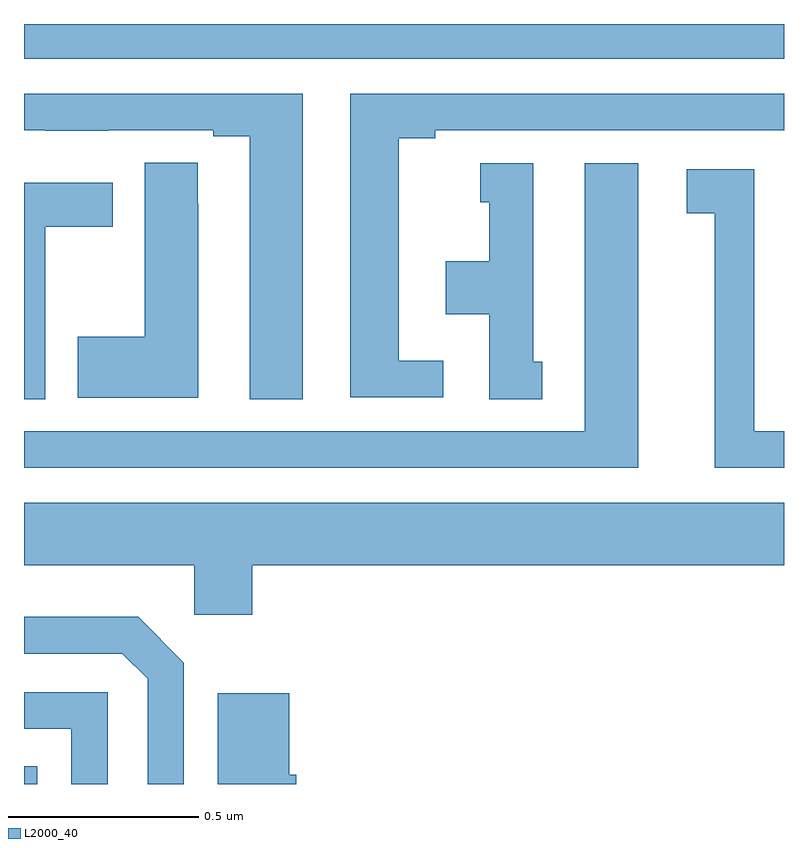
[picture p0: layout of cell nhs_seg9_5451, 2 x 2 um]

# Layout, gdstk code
import gdstk
lib = gdstk.Library(unit=1e-6, precision=1e-09)
def R(c, l, rs):  # rectangles x0, y0, x1, y1
    for r in rs: c.add(gdstk.rectangle(r[:2], r[2:], *l))
def P(c, l, *ps):  # polygons
    for p in ps: c.add(gdstk.Polygon(p, *l))
L2000_40 = (2000, 40)

nhs_seg9_5451 = lib.new_cell('nhs_seg9_5451')
R(nhs_seg9_5451, L2000_40, [(179,1206.5,179.035,1206.547), (179,1208.408,181,1208.5)])
P(nhs_seg9_5451, L2000_40, [(179.734,1208.316),(179,1208.316),(179,1208.22),(179.056,1208.22),(179.056,1208.219),(179.222,1208.219),(179.222,1208.22),(179.498,1208.22),(179.498,1208.205),(179.594,1208.205),(179.594,1207.513),(179.734,1207.513)],
  [(180.103,1207.614),(179.986,1207.614),(179.986,1208.2),(180.082,1208.2),(180.082,1208.22),(181,1208.22),(181,1208.316),(179.858,1208.316),(179.858,1207.518),(180.103,1207.518)],
  [(179.458,1208.027),(179.457,1208.027),(179.457,1208.135),(179.318,1208.135),(179.318,1207.677),(179.141,1207.677),(179.141,1207.517),(179.458,1207.517)],
  [(180.364,1207.611),(180.34,1207.611),(180.34,1208.134),(180.2,1208.134),(180.2,1208.031),(180.224,1208.031),(180.224,1207.876),(180.11,1207.876),(180.11,1207.736),(180.224,1207.736),(180.224,1207.513),(180.364,1207.513)],
  [(180.616,1208.134),(180.476,1208.134),(180.476,1207.428),(179,1207.428),(179,1207.332),(180.616,1207.332)],
  [(181,1207.428),(180.922,1207.428),(180.922,1208.118),(180.744,1208.118),(180.744,1208.002),(180.818,1208.002),(180.818,1207.332),(181,1207.332)],
  [(179.056,1207.966),(179.233,1207.966),(179.233,1208.082),(179,1208.082),(179,1207.513),(179.056,1207.513)],
  [(179.6,1207.076),(181,1207.076),(181,1207.24),(179,1207.24),(179,1207.076),(179.448,1207.076),(179.448,1206.945),(179.6,1206.945)],
  [(179.421,1206.819),(179.3,1206.94),(179,1206.94),(179,1206.843),(179.259,1206.843),(179.325,1206.777),(179.325,1206.5),(179.421,1206.5)],
  [(179.22,1206.741),(179,1206.741),(179,1206.645),(179.124,1206.645),(179.124,1206.5),(179.22,1206.5)],
  [(179.717,1206.525),(179.698,1206.525),(179.698,1206.739),(179.51,1206.739),(179.51,1206.5),(179.717,1206.5)])

lib.write_gds('nhs_seg9_5451.gds')
